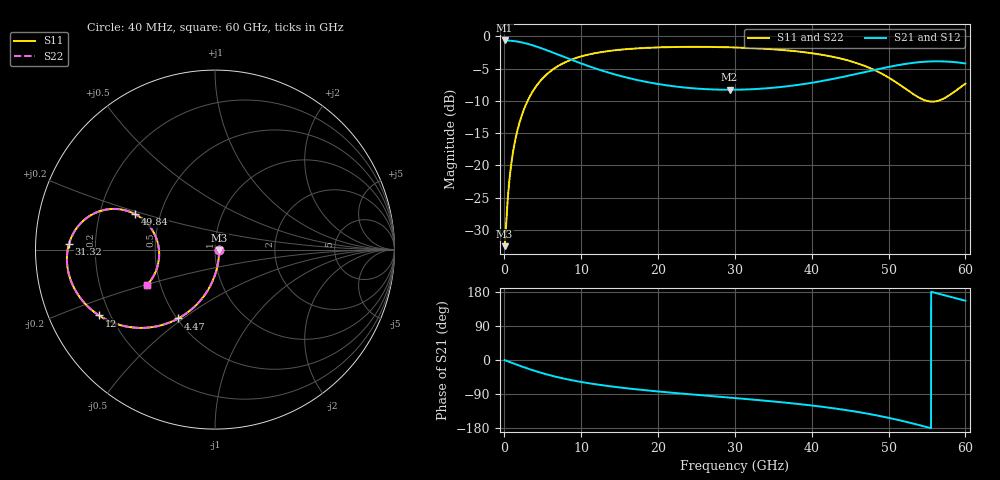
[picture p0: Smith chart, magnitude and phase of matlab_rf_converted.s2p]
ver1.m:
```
clc; clear;

length = 1;
z0 = 50;
freq = 40e6; num_freq = size(freq,2); 

R = [2.167210577171275E+00,6.082878476560055E-02;
    6.082878476560055E-02,2.175174968361538E+00];
% 50 * ones(1, 1, num_freq);


L = [3.589537436659622E+02,1.447122875150916E+01;
    1.447122875150916E+01,3.589097386384877E+02]*1e-9;
% 1e-9 * ones(1, 1, num_freq);


G = [7.025444187009436E-01, -2.936113143224808E-02;
    -2.936113143224808E-02,7.025443666228089E-01]*1e-3;
% 0.01 * ones(1, 1, num_freq);


C = [1.458209868593568E+02, -6.068946078437848E+00;
    -6.068946078437848E+00,1.458209487998258E+02]*1e-12;
% 8e-12 * ones(1, 1, num_freq);


s_params = rlgc2s(R,L,G,C,length,freq);
% s_params = snp2smp(s_params, 50, [1 3 2 4])


rfwrite(s_params, freq, 'ansys_rf_converted.s2p')

draw_sp = 0;
if draw_sp
    hs = sparameters('matlab_rf_converted.s2p');
    rfplot(hs)
end
```
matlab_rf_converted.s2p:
# GHz S MA R 50
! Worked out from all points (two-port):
!   5997 points, 40 MHz to 60 GHz, reference 50 ohm
!   highest |S21| = -0.65 dB at 40 MHz (marker M1); lowest = -8.3 dB at 29.32 GHz (marker M2)
!   |S21| within 3 dB of the highest: start of sweep to 8.739 GHz
!   lowest |S11| = -32.5 dB at 40 MHz (marker M3), VSWR 1.05, Z = 52.4 - j0.478 ohm
!   |S11| at or under -10 dB: start of sweep to 3.037 GHz; 54.95 GHz to 56.45 GHz (1.506 GHz wide, 2.7 % of centre)
!   |S22| runs from -32.5 to -1.6 dB; largest |S21 - S12| = 8.5e-16
!   S11 on the Smith chart (normalised r, x): 40 MHz: 1.05, -0.01; 4.47 GHz: 0.51, -0.48; 12 GHz: 0.16, -0.26; 31.32 GHz: 0.10, +0.02; 49.84 GHz: 0.36, +0.19; 60 GHz: 0.42, -0.20
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0.04  0.02364 -11.1  0.928 -0.3  0.928 -0.3  0.02364 -11.1
0.78  0.08914 -80.8  0.9241 -6.0  0.9241 -6.0  0.08914 -80.8
1.53  0.1683 -93.5  0.9131 -11.7  0.9131 -11.7  0.1683 -93.5
4.47  0.4348 -118.1  0.8217 -31.9  0.8217 -31.9  0.4348 -118.1
12  0.7431 -150.4  0.5593 -64.4  0.5593 -64.4  0.7431 -150.4
29.32  0.8212 -179.8  0.3851 -99.2  0.3851 -99.2  0.8212 -179.8
30.03  0.8189 179.3  0.3853 -100.4  0.3853 -100.4  0.8189 179.3
31.32  0.8138 177.7  0.3868 -102.7  0.3868 -102.7  0.8138 177.7
49.84  0.4854 156.1  0.5758 -151.9  0.5758 -151.9  0.4854 156.1
55.46  0.3121 -179.6  0.6384 -179.6  0.6384 -179.6  0.3121 -179.6
60  0.4293 -152.4  0.6161 156.5  0.6161 156.5  0.4293 -152.4
